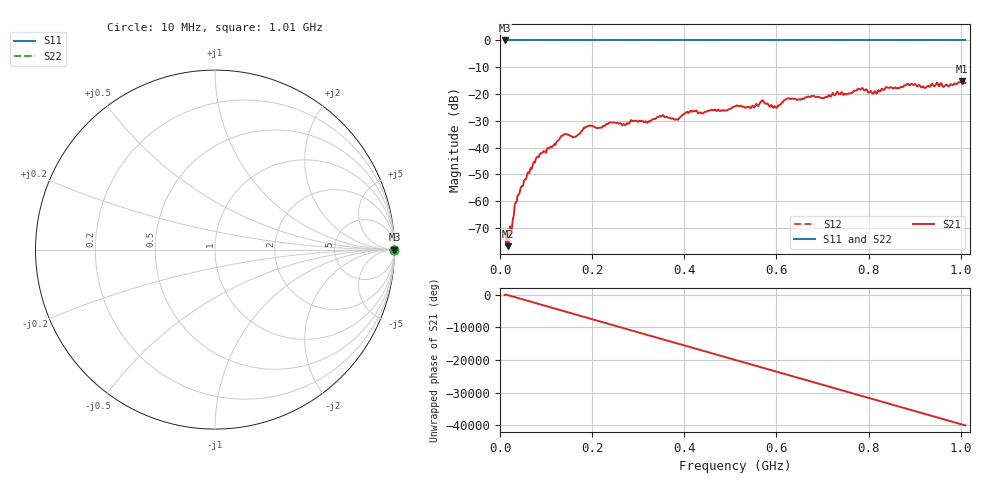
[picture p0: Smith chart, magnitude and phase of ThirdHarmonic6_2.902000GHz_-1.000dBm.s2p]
! 8/17/2025 8:01:24 AM
! C:\ANRITSUVNA\TEMP\TEMP.S2P
! CHANNEL.1
! TR.MEASUREMENT
! RAW.DATA
! RF.CORRECTION.OFF
! AVERAGING.OFF
! IF.BANDWIDTH: 5KHZ
! SWEEPTYPE:  FREQ.SWEEP(Linear)
! Reference Plane Port Info
! PORT:  PORT1  PORT2
! DISTANCE:  0  m  0  m
! TIME:  0  s  0  s
! PHASE.OFFSET:  0  deg.  0  deg.
! LOSS:  0  dB  0  dB
! REF.LOSS:  0  dB  0  dB
! REF.FREQ:  0  Hz  0  Hz
! Power Info
! POWER:  -20  dBm  -20  dBm
! EFF.POWER:  -20  dBm  -20  dBm
! SOURCE.ATTEN:  0  dB  0  dB
! TEST.ATTEN:  0  dB  0  dB
# GHZ S RI R 50.0
! FREQ.GHZ  S11RE  S11IM  S21RE  S21IM  S12RE  S12IM  S22RE  S22IM
!; PortSelection: Port_12
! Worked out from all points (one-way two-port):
!   501 points, 10 MHz to 1.01 GHz, reference 50 ohm
!   highest |S21| = -15.12 dB at 1.002 GHz (marker M1); lowest = -76.8 dB at 18 MHz (marker M2)
!   lowest |S11| = 0.0 dB at 10 MHz (marker M3)
!   |S11| at or under -10 dB: nowhere
!   |S22| runs from 0.0 to 0.0 dB; largest |S21 - S12| = 1.2
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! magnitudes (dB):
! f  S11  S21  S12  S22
! 10 MHz  0.0  -71.1  0.0  0.0
! 18 MHz  0.0  -76.8  0.0  0.0
! 22 MHz  0.0  -69.4  0.0  0.0
! 36 MHz  0.0  -60.4  0.0  0.0
! 76 MHz  0.0  -45.6  0.0  0.0
! 136 MHz  0.0  -35.6  0.0  0.0
! 162 MHz  0.0  -36.0  0.0  0.0
! 178 MHz  0.0  -33.8  0.0  0.0
! 344 MHz  0.0  -28.6  0.0  0.0
! 382 MHz  0.0  -29.4  0.0  0.0
! 416 MHz  0.0  -26.6  0.0  0.0
! 510 MHz  0.0  -24.6  0.0  0.0
! 548 MHz  0.0  -24.3  0.0  0.0
! 570 MHz  0.0  -22.3  0.0  0.0
! 596 MHz  0.0  -24.5  0.0  0.0
! 624 MHz  0.0  -21.7  0.0  0.0
! 678 MHz  0.0  -20.7  0.0  0.0
! 782 MHz  0.0  -18.4  0.0  0.0
! 814 MHz  0.0  -19.0  0.0  0.0
! 844 MHz  0.0  -17.7  0.0  0.0
! 1.002 GHz  0.0  -15.1  0.0  0.0
! 1.01 GHz  0.0  -15.8  0.0  0.0
